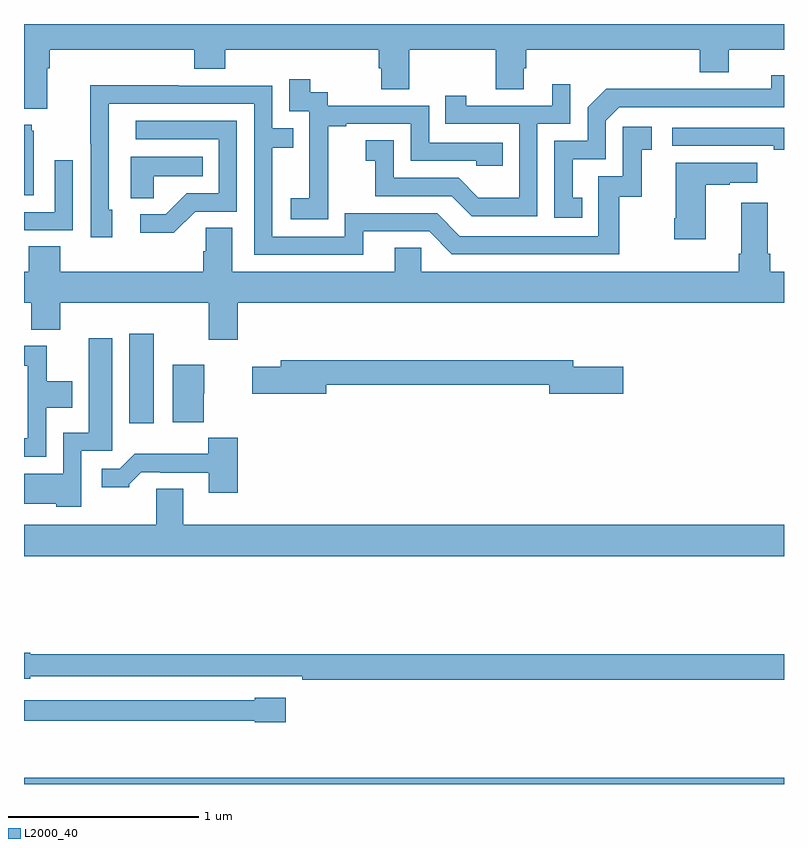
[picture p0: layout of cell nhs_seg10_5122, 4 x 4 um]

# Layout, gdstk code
import gdstk
lib = gdstk.Library(unit=1e-6, precision=1e-09)
def R(c, l, rs):  # rectangles x0, y0, x1, y1
    for r in rs: c.add(gdstk.rectangle(r[:2], r[2:], *l))
def P(c, l, *ps):  # polygons
    for p in ps: c.add(gdstk.Polygon(p, *l))
L2000_40 = (2000, 40)

nhs_seg10_5122 = lib.new_cell('nhs_seg10_5122')
R(nhs_seg10_5122, L2000_40, [(409,1248.5,413,1248.532), (409.553,1250.4,409.684,1250.869)])
P(nhs_seg10_5122, L2000_40, [(409.123,1252.268),(409.136,1252.268),(409.136,1252.364),(409.895,1252.364),(409.895,1252.265),(410.06,1252.265),(410.06,1252.364),(410.867,1252.364),(410.867,1252.266),(410.879,1252.266),(410.879,1252.156),(411.027,1252.156),(411.027,1252.364),(411.484,1252.364),(411.484,1252.156),(411.631,1252.156),(411.631,1252.266),(411.644,1252.266),(411.644,1252.364),(412.556,1252.364),(412.556,1252.247),(412.708,1252.247),(412.708,1252.364),(413,1252.364),(413,1252.5),(409,1252.5),(409,1252.055),(409.123,1252.055)],
  [(411.938,1251.585),(411.889,1251.585),(411.889,1251.789),(412.062,1251.789),(412.062,1251.99),(412.134,1252.062),(413,1252.062),(413,1252.231),(412.932,1252.231),(412.932,1252.158),(412.472,1252.158),(412.472,1252.16),(412.064,1252.16),(411.966,1252.062),(411.966,1251.885),(411.792,1251.885),(411.792,1251.48),(411.938,1251.48)],
  [(410.601,1251.679),(410.6,1251.679),(410.6,1251.963),(410.695,1251.963),(410.695,1251.975),(411.036,1251.975),(411.036,1251.78),(411.381,1251.78),(411.381,1251.753),(411.521,1251.753),(411.521,1251.876),(411.132,1251.876),(411.132,1252.071),(410.598,1252.071),(410.598,1252.14),(410.506,1252.14),(410.506,1252.21),(410.397,1252.21),(410.397,1252.041),(410.502,1252.041),(410.502,1251.812),(410.501,1251.812),(410.501,1251.583),(410.403,1251.583),(410.403,1251.473),(410.601,1251.473)],
  [(411.702,1251.975),(411.876,1251.975),(411.876,1252.183),(411.779,1252.183),(411.779,1252.071),(411.328,1252.071),(411.328,1252.123),(411.217,1252.123),(411.217,1251.975),(411.606,1251.975),(411.606,1251.586),(411.392,1251.586),(411.288,1251.69),(410.946,1251.69),(410.946,1251.889),(410.799,1251.889),(410.799,1251.779),(410.848,1251.779),(410.848,1251.594),(411.251,1251.594),(411.356,1251.489),(411.702,1251.489)],
  [(410.785,1251.408),(411.132,1251.408),(411.252,1251.288),(412.132,1251.288),(412.132,1251.591),(412.25,1251.591),(412.25,1251.837),(412.303,1251.837),(412.303,1251.958),(412.152,1251.958),(412.152,1251.699),(412.023,1251.699),(412.023,1251.384),(411.294,1251.384),(411.174,1251.504),(410.688,1251.504),(410.688,1251.381),(410.307,1251.381),(410.307,1251.85),(410.417,1251.85),(410.417,1251.951),(410.307,1251.951),(410.307,1252.176),(409.811,1252.176),(409.811,1252.178),(409.348,1252.178),(409.348,1251.871),(409.35,1251.871),(409.35,1251.378),(409.465,1251.378),(409.465,1251.522),(409.446,1251.522),(409.446,1252.08),(410.211,1252.08),(410.211,1251.285),(410.785,1251.285)],
  [(409.902,1251.513),(410.121,1251.513),(410.121,1251.99),(409.587,1251.99),(409.587,1251.894),(410.025,1251.894),(410.025,1251.609),(409.856,1251.609),(409.745,1251.498),(409.611,1251.498),(409.611,1251.401),(409.789,1251.401)],
  [(409.051,1251.939),(409.04,1251.939),(409.04,1251.97),(409,1251.97),(409,1251.599),(409.051,1251.599)],
  [(413,1251.954),(412.413,1251.954),(412.413,1251.858),(412.945,1251.858),(412.945,1251.838),(413,1251.838)],
  [(409.683,1251.698),(409.94,1251.698),(409.94,1251.802),(409.562,1251.802),(409.562,1251.583),(409.683,1251.583)],
  [(409.257,1251.784),(409.161,1251.784),(409.161,1251.51),(409,1251.51),(409,1251.414),(409.257,1251.414)],
  [(412.588,1251.655),(412.715,1251.655),(412.715,1251.665),(412.858,1251.665),(412.858,1251.769),(412.43,1251.769),(412.43,1251.478),(412.423,1251.478),(412.423,1251.366),(412.588,1251.366)],
  [(410.126,1251.032),(413,1251.032),(413,1251.196),(412.928,1251.196),(412.928,1251.292),(412.915,1251.292),(412.915,1251.559),(412.775,1251.559),(412.775,1251.292),(412.763,1251.292),(412.763,1251.196),(411.09,1251.196),(411.09,1251.323),(410.951,1251.323),(410.951,1251.196),(410.095,1251.196),(410.095,1251.428),(409.956,1251.428),(409.956,1251.305),(409.943,1251.305),(409.943,1251.196),(409.19,1251.196),(409.19,1251.329),(409.025,1251.329),(409.025,1251.196),(409,1251.196),(409,1251.032),(409.037,1251.032),(409.037,1250.891),(409.19,1250.891),(409.19,1251.032),(409.973,1251.032),(409.973,1250.838),(410.126,1250.838)],
  [(409.302,1250.253),(409.465,1250.253),(409.465,1250.845),(409.34,1250.845),(409.34,1250.35),(409.206,1250.35),(409.206,1250.134),(409,1250.134),(409,1249.976),(409.17,1249.976),(409.17,1249.958),(409.302,1249.958)],
  [(409.116,1250.48),(409.255,1250.48),(409.255,1250.62),(409.119,1250.62),(409.119,1250.806),(409,1250.806),(409,1250.702),(409.02,1250.702),(409.02,1250.319),(409,1250.319),(409,1250.223),(409.116,1250.223)],
  [(410.59,1250.602),(411.764,1250.602),(411.764,1250.555),(412.153,1250.555),(412.153,1250.697),(411.892,1250.697),(411.892,1250.731),(410.351,1250.731),(410.351,1250.697),(410.202,1250.697),(410.202,1250.555),(410.59,1250.555)],
  [(409.946,1250.553),(409.948,1250.553),(409.948,1250.707),(409.784,1250.707),(409.784,1250.405),(409.946,1250.405)],
  [(410.126,1250.323),(409.971,1250.323),(409.971,1250.239),(409.582,1250.239),(409.503,1250.16),(409.41,1250.16),(409.41,1250.063),(409.554,1250.063),(409.554,1250.078),(409.618,1250.142),(409.717,1250.142),(409.717,1250.139),(409.973,1250.139),(409.973,1250.034),(410.126,1250.034)],
  [(413,1249.864),(409.837,1249.864),(409.837,1250.054),(409.697,1250.054),(409.697,1249.864),(409,1249.864),(409,1249.7),(413,1249.7)],
  [(413,1249.184),(409.032,1249.184),(409.032,1249.19),(409,1249.19),(409,1249.055),(409.032,1249.055),(409.032,1249.068),(410.464,1249.068),(410.464,1249.048),(413,1249.048)],
  [(410.377,1248.955),(410.214,1248.955),(410.214,1248.942),(409,1248.942),(409,1248.834),(410.214,1248.834),(410.214,1248.826),(410.377,1248.826)])

lib.write_gds('nhs_seg10_5122.gds')
